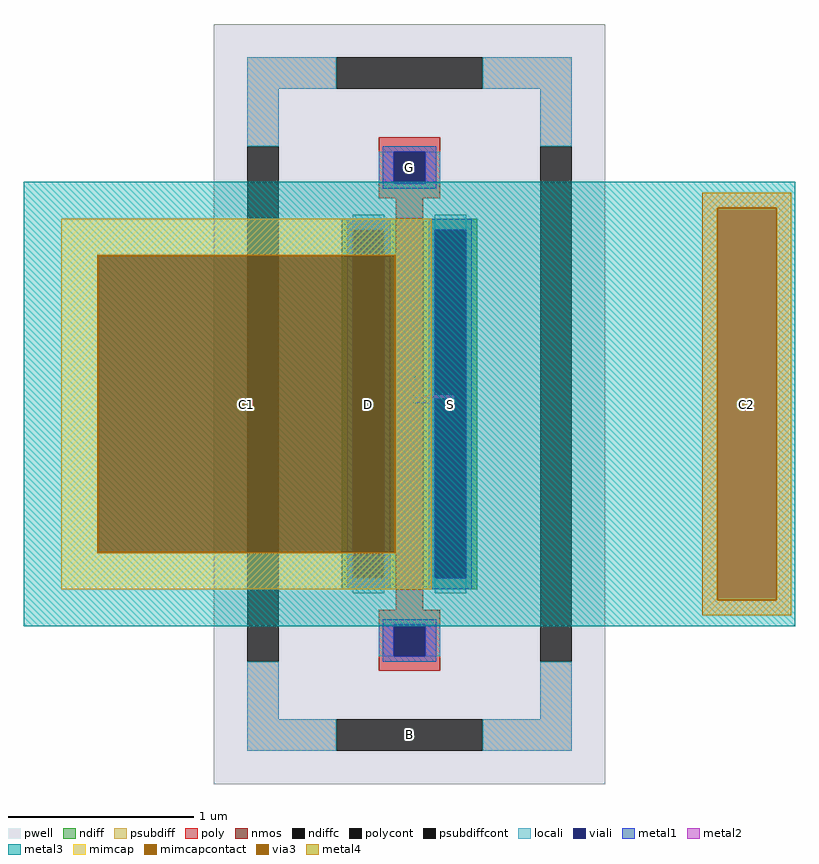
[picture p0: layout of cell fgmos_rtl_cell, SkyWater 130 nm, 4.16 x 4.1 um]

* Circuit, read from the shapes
.subckt fgmos_rtl_cell B D S G C2 C1
XM1 S G D B sky130_fd_pr__nfet_01v8 w=2 l=0.15
XC2 C1 C2 sky130_fd_pr__cap_mim_m3_1 w=2 l=2
.ends

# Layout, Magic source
magic
tech sky130A
magscale 1 2
<< pwell >>
rect -211 -410 211 410
<< nmos >>
rect -15 -200 15 200
<< ndiff >>
rect -73 188 -15 200
rect -73 -188 -61 188
rect -27 -188 -15 188
rect -73 -200 -15 -188
rect 15 188 73 200
rect 15 -188 27 188
rect 61 -188 73 188
rect 15 -200 73 -188
<< ndiffc >>
rect -61 -188 -27 188
rect 27 -188 61 188
<< psubdiff >>
rect -175 340 -79 374
rect 79 340 175 374
rect -175 278 -141 340
rect 141 278 175 340
rect -175 -340 -141 -278
rect 141 -340 175 -278
rect -175 -374 -79 -340
rect 79 -374 175 -340
<< psubdiffcont >>
rect -79 340 79 374
rect -175 -278 -141 278
rect 141 -278 175 278
rect -79 -374 79 -340
<< poly >>
rect -33 272 33 288
rect -33 238 -17 272
rect 17 238 33 272
rect -33 222 33 238
rect -15 200 15 222
rect -15 -222 15 -200
rect -33 -238 33 -222
rect -33 -272 -17 -238
rect 17 -272 33 -238
rect -33 -288 33 -272
<< polycont >>
rect -17 238 17 272
rect -17 -272 17 -238
<< locali >>
rect -175 340 -79 374
rect 79 340 175 374
rect -175 278 -141 340
rect 141 278 175 340
rect -33 238 -17 272
rect 17 238 33 272
rect -61 188 -27 204
rect -61 -204 -27 -188
rect 27 188 61 204
rect 27 -204 61 -188
rect -33 -272 -17 -238
rect 17 -272 33 -238
rect -175 -340 -141 -278
rect 141 -340 175 -278
rect -175 -374 -79 -340
rect 79 -374 175 -340
<< viali >>
rect -17 238 17 272
rect -61 -188 -27 188
rect 27 -188 61 188
rect -17 -272 17 -238
<< metal1 >>
rect -29 272 29 278
rect -29 238 -17 272
rect 17 238 29 272
rect -29 232 29 238
rect -67 188 -21 200
rect -67 -188 -61 188
rect -27 -188 -21 188
rect 21 188 67 200
rect 5 26 7 30
rect 21 2 27 188
rect 4 1 27 2
rect -67 -200 -21 -188
rect 21 -188 27 1
rect 61 -188 67 188
rect 21 -200 67 -188
rect -29 -238 29 -232
rect -29 -272 -17 -238
rect 17 -272 29 -238
rect -29 -278 29 -272
<< metal2 >>
rect 4 7 48 9
<< metal3 >>
rect -416 212 416 240
rect -416 -212 332 212
rect 396 -212 416 212
rect -416 -240 416 -212
<< via3 >>
rect 332 -212 396 212
<< mimcap >>
rect -376 160 24 200
rect -376 -160 -336 160
rect -16 -160 24 160
rect -376 -200 24 -160
<< mimcapcontact >>
rect -336 -160 -16 160
<< metal4 >>
rect 316 212 412 228
rect -337 160 -15 161
rect -337 -160 -336 160
rect -16 -160 -15 160
rect -337 -161 -15 -160
rect 316 -212 332 212
rect 396 -212 412 212
rect 316 -228 412 -212
<< labels >>
rlabel psubdiffcont 0 -357 0 -357 0 B
port 91 nsew
rlabel ndiffc -44 0 -44 0 0 D
port 92 nsew
rlabel ndiffc 44 0 44 0 0 S
port 93 nsew
rlabel polycont 0 255 0 255 0 G
port 94 nsew
rlabel via3 364 0 364 0 0 C2
port 103 nsew
rlabel mimcapcontact -176 0 -176 0 0 C1
port 104 nsew
<< properties >>
string FIXED_BBOX -416 -240 64 240
<< end >>
